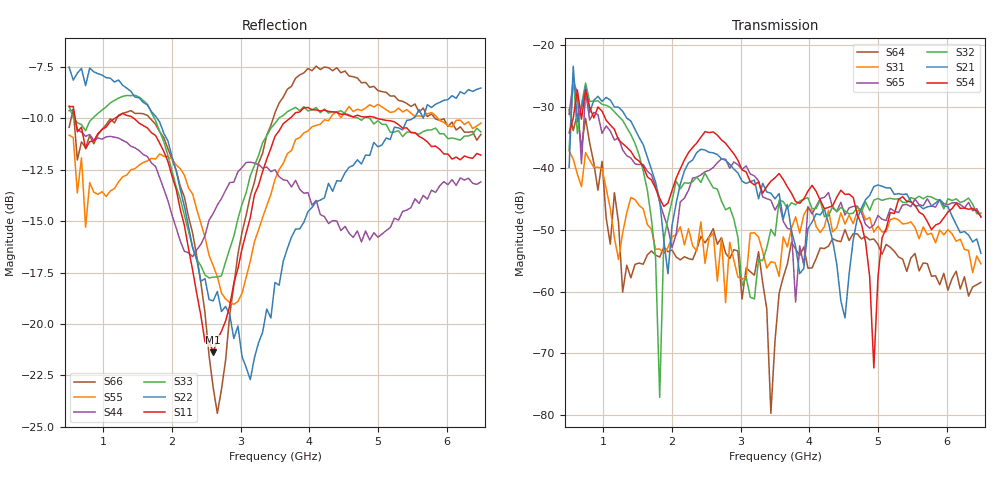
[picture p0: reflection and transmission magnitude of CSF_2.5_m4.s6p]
!Keysight Technologies,M9804A,MY58100912,A.14.10.03
!Date: Thursday, April 27, 2023 10:28:33
!Correction: S11(C  6-Port  )
!S12(C  6-Port  )
!S13(C  6-Port  )
!S14(C  6-Port  )
!S15(C  6-Port  )
!S16(C  6-Port  )
!S21(C  6-Port  )
!S22(C  6-Port  )
!S23(C  6-Port  )
!S24(C  6-Port  )
!S25(C  6-Port  )
!S26(C  6-Port  )
!S31(C  6-Port  )
!S32(C  6-Port  )
!S33(C  6-Port  )
!S34(C  6-Port  )
!S35(C  6-Port  )
!S36(C  6-Port  )
!S41(C  6-Port  )
!S42(C  6-Port  )
!S43(C  6-Port  )
!S44(C  6-Port  )
!S45(C  6-Port  )
!S46(C  6-Port  )
!S51(C  6-Port  )
!S52(C  6-Port  )
!S53(C  6-Port  )
!S54(C  6-Port  )
!S55(C  6-Port  )
!S56(C  6-Port  )
!S61(C  6-Port  )
!S62(C  6-Port  )
!S63(C  6-Port  )
!S64(C  6-Port  )
!S65(C  6-Port  )
!S66(C  6-Port  )
!S6P File: Measurement: :
# Hz S  RI  R 50
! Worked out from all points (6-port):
!   101 points, 500 MHz to 6.5 GHz, reference 50 ohm
!   strongest paths, dB at 500 MHz, 2 GHz, 3.5 GHz, 5 GHz, 6.5 GHz:
!     S54: -34.2, -43.6, -41.5, -57.7, -47.8
!     S21: -39.8, -49.2, -44.9, -42.7, -53.7
!     S32: -37.0, -45.2, -50.9, -44.8, -47.3
!     S65: -31.2, -52.8, -46.7, -47.6, -47.9
!     S31: -37.2, -51.1, -55.3, -49.4, -55.4
!     S64: -30.4, -53.2, -68.0, -52.3, -58.5
!   lowest |S11| = -21.4 dB at 2.6 GHz (marker M1), VSWR 1.19, Z = 42.4 + j2.18 ohm
!   |S11| at or under -10 dB: 588.4 MHz to 1.164 GHz (575.6 MHz wide, 65.7 % of centre); 1.443 GHz to 3.715 GHz (2.272 GHz wide, 88.1 % of centre); 4.986 GHz to end of sweep
